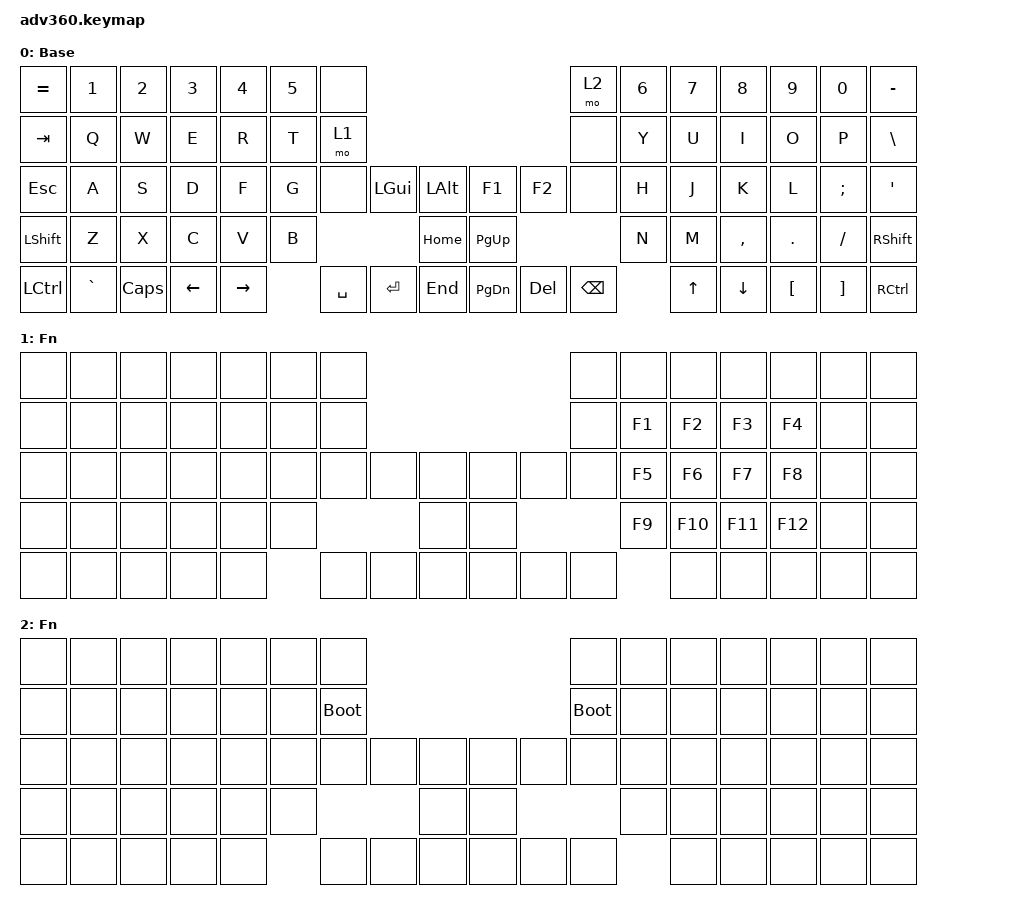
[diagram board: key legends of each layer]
#include <dt-bindings/zmk/stp.h>
#include <behaviors.dtsi>
#include <dt-bindings/zmk/keys.h>

/ {
    behaviors {
        #include "macros.dtsi"
      #include "version.dtsi"

        hm: homerow_mods {
            compatible = "zmk,behavior-hold-tap";
            label = "HOMEROW_MODS";
            #binding-cells = <2>;
            tapping-term-ms = <200>;
            quick_tap_ms = <175>;
            flavor = "tap-preferred";
            bindings = <&kp>, <&kp>;
        };
    };

    keymap {
        compatible = "zmk,keymap";

        default {
            display-name = "Base";
            bindings = <
&kp EQUAL  &kp N1     &kp N2    &kp N3    &kp N4     &kp N5  &none                                                      &mo 2          &kp N6  &kp N7  &kp N8     &kp N9    &kp N0    &kp MINUS
&kp TAB    &kp Q      &kp W     &kp E     &kp R      &kp T   &mo 1                                                      &none          &kp Y   &kp U   &kp I      &kp O     &kp P     &kp BSLH
&kp ESC    &kp A      &kp S     &kp D     &kp F      &kp G   &none      &kp LEFT_GUI  &kp LALT      &kp F1     &kp F2   &none          &kp H   &kp J   &kp K      &kp L     &kp SEMI  &kp SQT
&kp LSHFT  &kp Z      &kp X     &kp C     &kp V      &kp B                            &kp HOME      &kp PG_UP                          &kp N   &kp M   &kp COMMA  &kp DOT   &kp FSLH  &kp RSHFT
&kp LCTRL  &kp GRAVE  &kp CAPS  &kp LEFT  &kp RIGHT          &kp SPACE  &kp ENTER     &kp END       &kp PG_DN  &kp DEL  &kp BACKSPACE          &kp UP  &kp DOWN   &kp LBKT  &kp RBKT  &kp RCTRL
            >;
        };

        nav {
            display-name = "Fn";
            bindings = <
&none  &none  &none  &none  &none  &none  &none                                  &none  &none   &none    &none    &none    &none  &none
&none  &none  &none  &none  &none  &none  &none                                  &none  &kp F1  &kp F2   &kp F3   &kp F4   &none  &none
&none  &none  &none  &none  &none  &none  &none  &none  &none      &none  &none  &none  &kp F5  &kp F6   &kp F7   &kp F8   &none  &none
&none  &none  &none  &none  &none  &none                &none      &none                &kp F9  &kp F10  &kp F11  &kp F12  &none  &none
&none  &none  &none  &none  &none         &none  &none  &none      &none  &none  &none          &none    &none    &none    &none  &none
            >;
        };

        config {
            display-name = "Fn";
            bindings = <
&none  &none  &none  &none  &none  &none  &none                                        &none        &none  &none  &none  &none  &none  &none
&none  &none  &none  &none  &none  &none  &bootloader                                  &bootloader  &none  &none  &none  &none  &none  &none
&none  &none  &none  &none  &none  &none  &none        &none  &none      &none  &none  &none        &none  &none  &none  &none  &none  &none
&none  &none  &none  &none  &none  &none                      &none      &none                      &none  &none  &none  &none  &none  &none
&none  &none  &none  &none  &none         &none        &none  &none      &none  &none  &none               &none  &none  &none  &none  &none
            >;
        };
    };
};
